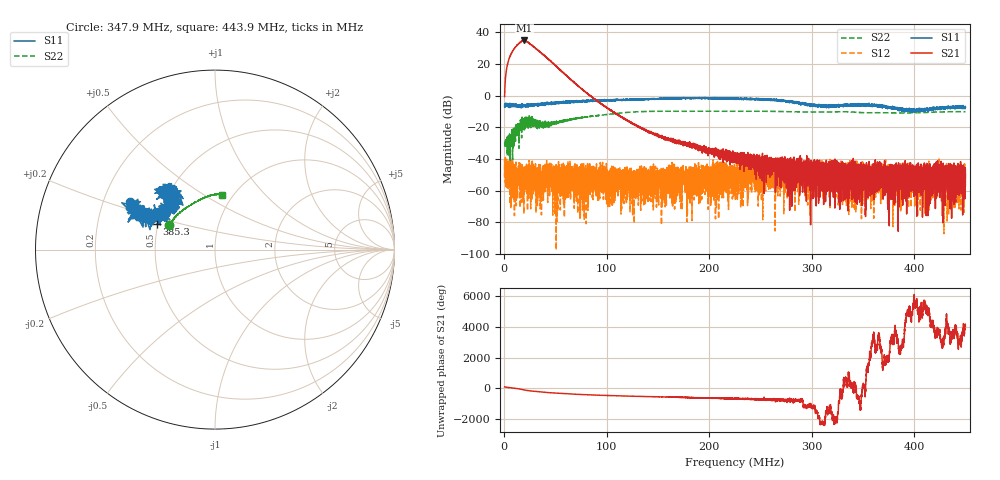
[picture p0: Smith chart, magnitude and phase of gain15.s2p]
# Hz S DB R 50
! CMT, M5065, 19127446, 24.2.4/2
! Date: 12/3/2024 4:25:40 PM
! Data: Format (Calibration Info)
! Freq	S11:dB/Ang(F2)	S21:dB/Ang(F2)	S12:dB/Ang(F2)	S22:dB/Ang(F2)
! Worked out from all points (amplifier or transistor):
!   9000 points, 300 kHz to 450 MHz, reference 50 ohm
!   highest |S21| = 34.8 dB at 19.49 MHz (marker M1)
!   |S21| within 3 dB of that: 12.49 MHz to 26.75 MHz (14.26 MHz wide, 72.7 % of centre)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
!   unconditionally stable (mu >= 1): start of sweep to end of sweep
!   at 75.26 MHz: K = 31.74, MAG = 7.1 dB, |S12| = -46.0 dB
!   at 225.2 MHz: K = 6527.37, MAG = -33.9 dB, |S12| = -53.2 dB
!   at 450 MHz: K = 24511.40, MAG = -45.6 dB, |S12| = -49.5 dB
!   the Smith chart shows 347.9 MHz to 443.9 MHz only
!   S11 on the Smith chart (normalised r, x): 347.9 MHz: 0.32, +0.24; 385.3 MHz: 0.49, +0.16; 443.9 MHz: 0.50, +0.35
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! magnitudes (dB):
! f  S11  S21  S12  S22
! 300 kHz  -7.0  -0.6  -51.9  -30.0
! 3.198 MHz  -5.7  19.9  -44.2  -36.7
! 6.097 MHz  -6.3  25.6  -55.0  -28.3
! 12.54 MHz  -6.3  31.8  -55.4  -20.8
! 19.49 MHz  -6.5  34.8  -45.1  -13.6
! 30.98 MHz  -5.8  29.6  -68.5  -17.2
! 42.93 MHz  -5.6  23.1  -52.8  -17.8
! 75.26 MHz  -3.4  4.3  -46.0  -13.9
! 112 MHz  -2.9  -12.7  -53.9  -11.1
! 150.2 MHz  -2.1  -25.4  -52.7  -9.9
! 225.2 MHz  -2.0  -38.6  -53.2  -9.9
! 242.3 MHz  -2.1  -39.7  -52.1  -9.9
! 246.3 MHz  -2.2  -38.8  -43.4  -9.9
! 300.1 MHz  -6.0  -46.9  -53.6  -10.4
! 320.1 MHz  -6.8  -49.8  -52.4  -10.3
! 347.9 MHz  -5.3  -50.0  -60.4  -10.8
! 369.3 MHz  -7.3  -54.0  -56.4  -10.9
! 375.1 MHz  -7.7  -50.9  -73.9  -10.9
! 385.3 MHz  -9.0  -46.8  -55.7  -11.0
! 443.9 MHz  -8.1  -55.3  -45.1  -10.2
! 447.8 MHz  -8.1  -53.1  -63.6  -10.2
! 450 MHz  -7.4  -46.9  -49.5  -10.2
